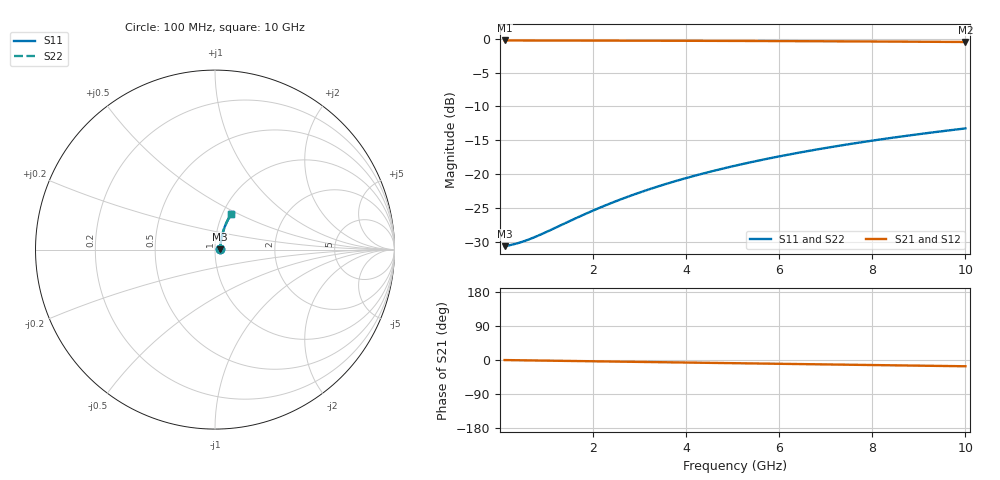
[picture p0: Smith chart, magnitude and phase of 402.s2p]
# Hz S RI R 50.00
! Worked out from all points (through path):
!   100 points, 100 MHz to 10 GHz, reference 50 ohm
!   highest |S21| = -0.26 dB at 100 MHz (marker M1); lowest = -0.5 dB at 10 GHz (marker M2)
!   group delay of S21, straight-line fit = 4.6 ps
!   lowest |S11| = -30.7 dB at 100 MHz (marker M3), VSWR 1.06, Z = 53 + j0.226 ohm
!   |S11| at or under -10 dB: start of sweep to end of sweep
!   |S22| runs from -30.7 to -13.3 dB; largest |S21 - S12| = 0
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1e8  0.0292 0.00213  0.9708 -0.00284  0.9708 -0.00284  0.0292 0.00213
3e8  0.0296 0.00638  0.9704 -0.00852  0.9704 -0.00852  0.0296 0.00638
4e8  0.0297 0.00851  0.9703 -0.0114  0.9703 -0.0114  0.0297 0.00851
5e8  0.0299 0.0106  0.9701 -0.0142  0.9701 -0.0142  0.0299 0.0106
7e8  0.0302 0.0149  0.9698 -0.0199  0.9698 -0.0199  0.0302 0.0149
1e9  0.0307 0.0212  0.9693 -0.0284  0.9693 -0.0284  0.0307 0.0212
1.8e9  0.0324 0.0381  0.9675 -0.051  0.9675 -0.051  0.0324 0.0381
2.2e9  0.0335 0.0465  0.9663 -0.0623  0.9663 -0.0623  0.0335 0.0465
2.6e9  0.0348 0.0549  0.965 -0.0735  0.965 -0.0735  0.0348 0.0549
3e9  0.0363 0.0632  0.9634 -0.0847  0.9634 -0.0847  0.0363 0.0632
3.4e9  0.038 0.0715  0.9617 -0.0958  0.9617 -0.0958  0.038 0.0715
3.8e9  0.0398 0.0798  0.9598 -0.1069  0.9598 -0.1069  0.0398 0.0798
4.2e9  0.0419 0.0879  0.9576 -0.118  0.9576 -0.118  0.0419 0.0879
4.6e9  0.0441 0.0961  0.9553 -0.129  0.9553 -0.129  0.0441 0.0961
5.1e9  0.0471 0.1061  0.9522 -0.1426  0.9522 -0.1426  0.0471 0.1061
5.5e9  0.0497 0.1141  0.9494 -0.1534  0.9494 -0.1534  0.0497 0.1141
5.9e9  0.0525 0.122  0.9465 -0.1642  0.9465 -0.1642  0.0525 0.122
6.7e9  0.0587 0.1375  0.9401 -0.1855  0.9401 -0.1855  0.0587 0.1375
7.5e9  0.0655 0.1526  0.933 -0.2064  0.933 -0.2064  0.0655 0.1526
8.4e9  0.0739 0.1692  0.9242 -0.2294  0.9242 -0.2294  0.0739 0.1692
9.2e9  0.082 0.1835  0.9157 -0.2495  0.9157 -0.2495  0.082 0.1835
1e10  0.0907 0.1973  0.9066 -0.2691  0.9066 -0.2691  0.0907 0.1973
